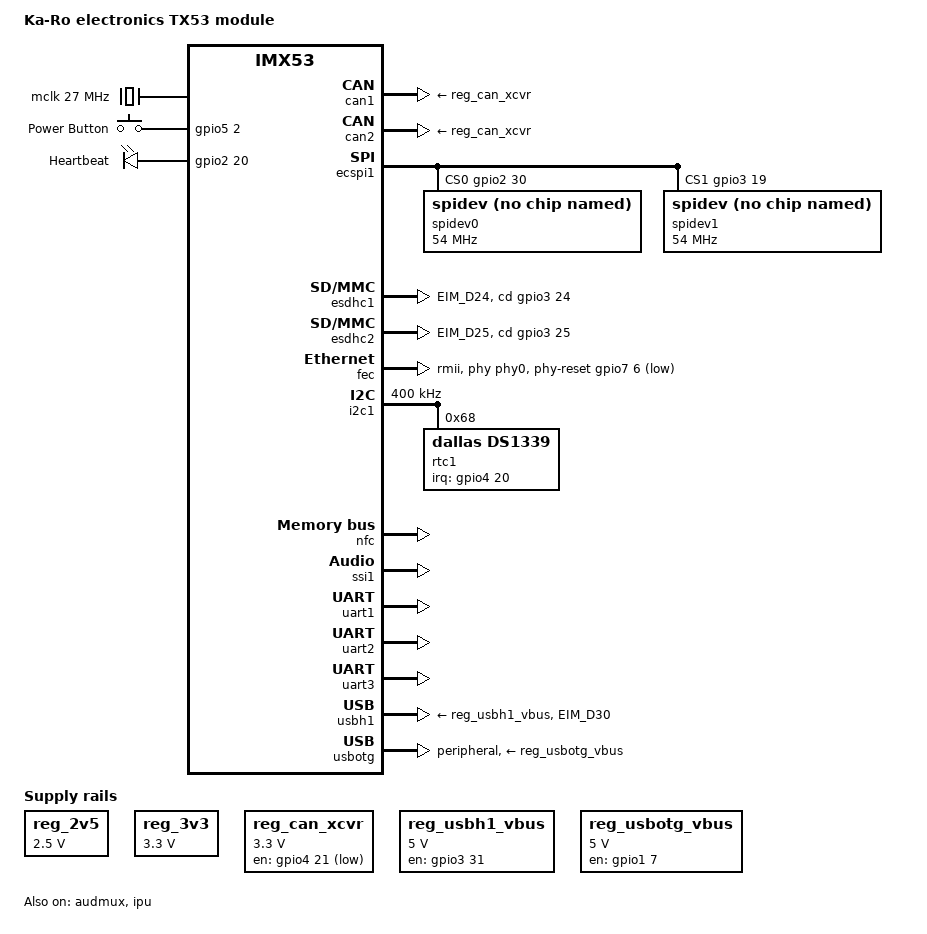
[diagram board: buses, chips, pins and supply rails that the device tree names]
/*
 * Copyright 2012 <LW@KARO-electronics.de>
 * based on imx53-qsb.dts
 *   Copyright 2011 Freescale Semiconductor, Inc.
 *   Copyright 2011 Linaro Ltd.
 *
 * The code contained herein is licensed under the GNU General Public
 * License. You may obtain a copy of the GNU General Public License
 * Version 2 at the following locations:
 *
 * http://www.opensource.org/licenses/gpl-license.html
 * http://www.gnu.org/copyleft/gpl.html
 */

#include "imx53.dtsi"
#include <dt-bindings/gpio/gpio.h>

/ {
	model = "Ka-Ro electronics TX53 module";
	compatible = "karo,tx53", "fsl,imx53";

	aliases {
		can0 = &can2; /* Make the can interface indices consistent with TX28/TX48 modules */
		can1 = &can1;
		ipu = &ipu;
		reg_can_xcvr = &reg_can_xcvr;
		usbh1 = &usbh1;
		usbotg = &usbotg;
	};

	clocks {
		ckih1 {
			clock-frequency = <0>;
		};

		mclk: clock@0 {
			compatible = "fixed-clock";
			reg = <0>;
			#clock-cells = <0>;
			clock-frequency = <27000000>;
		};
	};

	gpio-keys {
		compatible = "gpio-keys";
		pinctrl-names = "default";
		pinctrl-0 = <&pinctrl_gpio_key>;

		power {
			label = "Power Button";
			gpios = <&gpio5 2 GPIO_ACTIVE_HIGH>;
			linux,code = <116>; /* KEY_POWER */
			gpio-key,wakeup;
		};
	};

	leds {
		compatible = "gpio-leds";
		pinctrl-names = "default";
		pinctrl-0 = <&pinctrl_stk5led>;

		user {
			label = "Heartbeat";
			gpios = <&gpio2 20 GPIO_ACTIVE_HIGH>;
			linux,default-trigger = "heartbeat";
		};
	};

	regulators {
		compatible = "simple-bus";
		#address-cells = <1>;
		#size-cells = <0>;

		reg_2v5: regulator@0 {
			compatible = "regulator-fixed";
			reg = <0>;
			regulator-name = "2V5";
			regulator-min-microvolt = <2500000>;
			regulator-max-microvolt = <2500000>;
		};

		reg_3v3: regulator@1 {
			compatible = "regulator-fixed";
			reg = <1>;
			regulator-name = "3V3";
			regulator-min-microvolt = <3300000>;
			regulator-max-microvolt = <3300000>;
		};

		reg_can_xcvr: regulator@2 {
			compatible = "regulator-fixed";
			reg = <2>;
			regulator-name = "CAN XCVR";
			regulator-min-microvolt = <3300000>;
			regulator-max-microvolt = <3300000>;
			pinctrl-names = "default";
			pinctrl-0 = <&pinctrl_can_xcvr>;
			gpio = <&gpio4 21 GPIO_ACTIVE_HIGH>;
			enable-active-low;
		};

		reg_usbh1_vbus: regulator@3 {
			compatible = "regulator-fixed";
			reg = <3>;
			regulator-name = "usbh1_vbus";
			regulator-min-microvolt = <5000000>;
			regulator-max-microvolt = <5000000>;
			pinctrl-names = "default";
			pinctrl-0 = <&pinctrl_usbh1_vbus>;
			gpio = <&gpio3 31 GPIO_ACTIVE_HIGH>;
			enable-active-high;
		};

		reg_usbotg_vbus: regulator@4 {
			compatible = "regulator-fixed";
			reg = <4>;
			regulator-name = "usbotg_vbus";
			regulator-min-microvolt = <5000000>;
			regulator-max-microvolt = <5000000>;
			pinctrl-names = "default";
			pinctrl-0 = <&pinctrl_usbotg_vbus>;
			gpio = <&gpio1 7 GPIO_ACTIVE_HIGH>;
			enable-active-high;
		};
	};

	sound {
		compatible = "karo,tx53-audio-sgtl5000", "fsl,imx-audio-sgtl5000";
		model = "tx53-audio-sgtl5000";
		ssi-controller = <&ssi1>;
		audio-codec = <&sgtl5000>;
		audio-routing =
			"MIC_IN", "Mic Jack",
			"Mic Jack", "Mic Bias",
			"Headphone Jack", "HP_OUT";
		/* '1' based port numbers according to datasheet names */
		mux-int-port = <1>;
		mux-ext-port = <5>;
	};
};

&audmux {
	pinctrl-names = "default";
	pinctrl-0 = <&pinctrl_ssi1>;
	status = "okay";
};

&can1 {
	pinctrl-names = "default";
	pinctrl-0 = <&pinctrl_can1>;
	xceiver-supply = <&reg_can_xcvr>;
	status = "okay";
};

&can2 {
	pinctrl-names = "default";
	pinctrl-0 = <&pinctrl_can2>;
	xceiver-supply = <&reg_can_xcvr>;
	status = "okay";
};

&ecspi1 {
	pinctrl-names = "default";
	pinctrl-0 = <&pinctrl_ecspi1>;
	fsl,spi-num-chipselects = <2>;
	status = "okay";

	cs-gpios = <
		&gpio2 30 GPIO_ACTIVE_HIGH
		&gpio3 19 GPIO_ACTIVE_HIGH
	>;

	spidev0: spi@0 {
		compatible = "spidev";
		reg = <0>;
		spi-max-frequency = <54000000>;
	};

	spidev1: spi@1 {
		compatible = "spidev";
		reg = <1>;
		spi-max-frequency = <54000000>;
	};
};

&esdhc1 {
	cd-gpios = <&gpio3 24 GPIO_ACTIVE_HIGH>;
	fsl,wp-controller;
	pinctrl-names = "default";
	pinctrl-0 = <&pinctrl_esdhc1>;
	status = "okay";
};

&esdhc2 {
	cd-gpios = <&gpio3 25 GPIO_ACTIVE_HIGH>;
	fsl,wp-controller;
	pinctrl-names = "default";
	pinctrl-0 = <&pinctrl_esdhc2>;
	status = "okay";
};

&fec {
	pinctrl-names = "default";
	pinctrl-0 = <&pinctrl_fec>;
	phy-mode = "rmii";
	phy-reset-gpios = <&gpio7 6 GPIO_ACTIVE_HIGH>;
	phy-handle = <&phy0>;
	mac-address = [000000000000]; /* placeholder; will be overwritten by bootloader */
	status = "okay";

	phy0: ethernet-phy@0 {
		interrupt-parent = <&gpio2>;
		interrupts = <4>;
		device_type = "ethernet-phy";
	};
};

&i2c1 {
	pinctrl-names = "default";
	pinctrl-0 = <&pinctrl_i2c1>;
	clock-frequency = <400000>;
	status = "okay";

	rtc1: ds1339@68 {
		compatible = "dallas,ds1339";
		reg = <0x68>;
		pinctrl-names = "default";
		pinctrl-0 = <&pinctrl_ds1339>;
		interrupt-parent = <&gpio4>;
		interrupts = <20 0>;
	};
};

&iomuxc {
	pinctrl-names = "default";
	pinctrl-0 = <&pinctrl_hog>;

	imx53-tx53 {
		pinctrl_hog: hoggrp {
			/* pins not in use by any device on the Starterkit board series */
			fsl,pins = <
				/* CMOS Sensor Interface */
				MX53_PAD_CSI0_DAT12__GPIO5_30 0x1f4
				MX53_PAD_CSI0_DAT13__GPIO5_31 0x1f4
				MX53_PAD_CSI0_DAT14__GPIO6_0 0x1f4
				MX53_PAD_CSI0_DAT15__GPIO6_1 0x1f4
				MX53_PAD_CSI0_DAT16__GPIO6_2 0x1f4
				MX53_PAD_CSI0_DAT17__GPIO6_3 0x1f4
				MX53_PAD_CSI0_DAT18__GPIO6_4 0x1f4
				MX53_PAD_CSI0_DAT19__GPIO6_5 0x1f4
				MX53_PAD_CSI0_MCLK__GPIO5_19 0x1f4
				MX53_PAD_CSI0_VSYNC__GPIO5_21 0x1f4
				MX53_PAD_CSI0_PIXCLK__GPIO5_18 0x1f4
				MX53_PAD_GPIO_0__GPIO1_0 0x1f4
				/* Module Specific Signal */
				/* MX53_PAD_NANDF_CS2__GPIO6_15 0x1f4 maybe used by EDT-FT5x06 */
				/* MX53_PAD_EIM_A16__GPIO2_22 0x1f4 maybe used by EDT-FT5x06 */
				MX53_PAD_EIM_D29__GPIO3_29 0x1f4
				MX53_PAD_EIM_EB3__GPIO2_31 0x1f4
				/* MX53_PAD_EIM_A17__GPIO2_21 0x1f4 maybe used by EDT-FT5x06 */
				/* MX53_PAD_EIM_A18__GPIO2_20 0x1f4 used by LED */
				MX53_PAD_EIM_A19__GPIO2_19 0x1f4
				MX53_PAD_EIM_A20__GPIO2_18 0x1f4
				MX53_PAD_EIM_A21__GPIO2_17 0x1f4
				MX53_PAD_EIM_A22__GPIO2_16 0x1f4
				MX53_PAD_EIM_A23__GPIO6_6 0x1f4
				MX53_PAD_EIM_A24__GPIO5_4 0x1f4
				MX53_PAD_CSI0_DAT8__GPIO5_26 0x1f4
				MX53_PAD_CSI0_DAT9__GPIO5_27 0x1f4
				MX53_PAD_CSI0_DAT10__GPIO5_28 0x1f4
				MX53_PAD_CSI0_DAT11__GPIO5_29 0x1f4
				/* MX53_PAD_EIM_D22__GPIO3_22 0x1f4 maybe used by EETI touchpanel driver */
				/* MX53_PAD_EIM_D23__GPIO3_23 0x1f4 maybe used by EETI touchpanel driver */
				MX53_PAD_GPIO_13__GPIO4_3 0x1f4
				MX53_PAD_EIM_CS0__GPIO2_23 0x1f4
				MX53_PAD_EIM_CS1__GPIO2_24 0x1f4
				MX53_PAD_CSI0_DATA_EN__GPIO5_20 0x1f4
				MX53_PAD_EIM_WAIT__GPIO5_0 0x1f4
				MX53_PAD_EIM_EB0__GPIO2_28 0x1f4
				MX53_PAD_EIM_EB1__GPIO2_29 0x1f4
				MX53_PAD_EIM_OE__GPIO2_25 0x1f4
				MX53_PAD_EIM_LBA__GPIO2_27 0x1f4
				MX53_PAD_EIM_RW__GPIO2_26 0x1f4
				MX53_PAD_EIM_DA8__GPIO3_8 0x1f4
				MX53_PAD_EIM_DA9__GPIO3_9 0x1f4
				MX53_PAD_EIM_DA10__GPIO3_10 0x1f4
				MX53_PAD_EIM_DA11__GPIO3_11 0x1f4
				MX53_PAD_EIM_DA12__GPIO3_12 0x1f4
				MX53_PAD_EIM_DA13__GPIO3_13 0x1f4
				MX53_PAD_EIM_DA14__GPIO3_14 0x1f4
				MX53_PAD_EIM_DA15__GPIO3_15 0x1f4
				>;
		};

		pinctrl_can1: can1grp {
			fsl,pins = <MX53_CAN1_PINGRP3>;
		};

		pinctrl_can2: can2grp {
			fsl,pins = <MX53_CAN2_PINGRP1>;
		};

		pinctrl_can_xcvr: can-xcvrgrp {
			fsl,pins = <MX53_PAD_DISP0_DAT0__GPIO4_21 0xe0>; /* Flexcan XCVR enable */
		};

		pinctrl_ds1339: ds1339grp {
			fsl,pins = <MX53_PAD_DI0_PIN4__GPIO4_20 0xe0>;
		};

		pinctrl_ecspi1: ecspi1grp {
			fsl,pins = <MX53_ECSPI1_PINGRP2>;
		};

		pinctrl_esdhc1: esdhc1grp {
			fsl,pins = <MX53_ESDHC1_PINGRP1
				MX53_PAD_EIM_D24__GPIO3_24 0x1f0
			>;
		};

		pinctrl_esdhc2: esdhc2grp {
			fsl,pins = <MX53_ESDHC2_PINGRP1
				MX53_PAD_EIM_D25__GPIO3_25 0x1f0
			>;
		};

		pinctrl_fec: fecgrp {
			fsl,pins = <MX53_FEC_PINGRP1>;
		};

		pinctrl_gpio_key: gpio-keygrp {
			fsl,pins = <MX53_PAD_EIM_A25__GPIO5_2 0x1f4>;
		};

		pinctrl_i2c1: i2c1grp {
			fsl,pins = <MX53_I2C1_PINGRP2>;
		};

		pinctrl_i2c3: i2c3grp {
			fsl,pins = <MX53_I2C3_PINGRP2>;
		};

		pinctrl_nand: nandgrp {
			fsl,pins = <MX53_NAND_PINGRP2>;
		};

		pinctrl_pwm2: pwm2grp {
			fsl,pins = <MX53_PWM2_PINGRP1>;
		};

		pinctrl_ssi1: ssi1grp {
			fsl,pins = <MX53_AUDMUX_PINGRP1>;
		};

		pinctrl_ssi2: ssi2grp {
			fsl,pins = <MX53_AUDMUX_PINGRP3
				MX53_PAD_EIM_D27__GPIO3_27 0x1f0
			>;
		};

		pinctrl_stk5led: stk5ledgrp {
			fsl,pins = <MX53_PAD_EIM_A18__GPIO2_20 0xc0>;
		};

		pinctrl_uart1: uart1grp {
			fsl,pins = <MX53_UART1_PINGRP2 MX53_UART1_PINGRP3>;
		};

		pinctrl_uart2: uart2grp {
			fsl,pins = <MX53_UART2_PINGRP2>;
		};

		pinctrl_uart3: uart3grp {
			fsl,pins = <MX53_UART3_PINGRP1>;
		};

		pinctrl_usbh1: usbh1grp {
			fsl,pins = <
				MX53_PAD_EIM_D30__GPIO3_30 0x100 /* OC */
			>;
		};

		pinctrl_usbh1_vbus: usbh1-vbusgrp {
			fsl,pins = <
				MX53_PAD_EIM_D31__GPIO3_31 0xe0 /* VBUS ENABLE */
			>;
		};

		pinctrl_usbotg_vbus: usbotg-vbusgrp {
			fsl,pins = <
				MX53_PAD_GPIO_7__GPIO1_7 0xe0 /* VBUS ENABLE */
				MX53_PAD_GPIO_8__GPIO1_8 0x100 /* OC */
			>;
		};
	};
};

&ipu {
	status = "okay";
};

&nfc {
	pinctrl-names = "default";
	pinctrl-0 = <&pinctrl_nand>;
	nand-bus-width = <8>;
	nand-ecc-mode = "hw";
	nand-on-flash-bbt;
	status = "okay";
};

&pwm2 {
	pinctrl-names = "default";
	pinctrl-0 = <&pinctrl_pwm2>;
	#pwm-cells = <3>;
};

&sdma {
	fsl,sdma-ram-script-name = "sdma-imx53.bin";
};

&ssi1 {
	fsl,mode = "i2s-slave";
	codec-handle = <&sgtl5000>;
	status = "okay";
};

&ssi2 {
	status = "disabled";
};

&uart1 {
	pinctrl-names = "default";
	pinctrl-0 = <&pinctrl_uart1>;
	fsl,uart-has-rtscts;
	status = "okay";
};

&uart2 {
	pinctrl-names = "default";
	pinctrl-0 = <&pinctrl_uart2>;
	fsl,uart-has-rtscts;
	status = "okay";
};

&uart3 {
	pinctrl-names = "default";
	pinctrl-0 = <&pinctrl_uart3>;
	fsl,uart-has-rtscts;
	status = "okay";
};

&usbh1 {
	pinctrl-names = "default";
	pinctrl-0 = <&pinctrl_usbh1>;
	phy_type = "utmi";
	disable-over-current;
	vbus-supply = <&reg_usbh1_vbus>;
	status = "okay";
};

&usbotg {
	phy_type = "utmi";
	dr_mode = "peripheral";
	disable-over-current;
	vbus-supply = <&reg_usbotg_vbus>;
	status = "okay";
};
